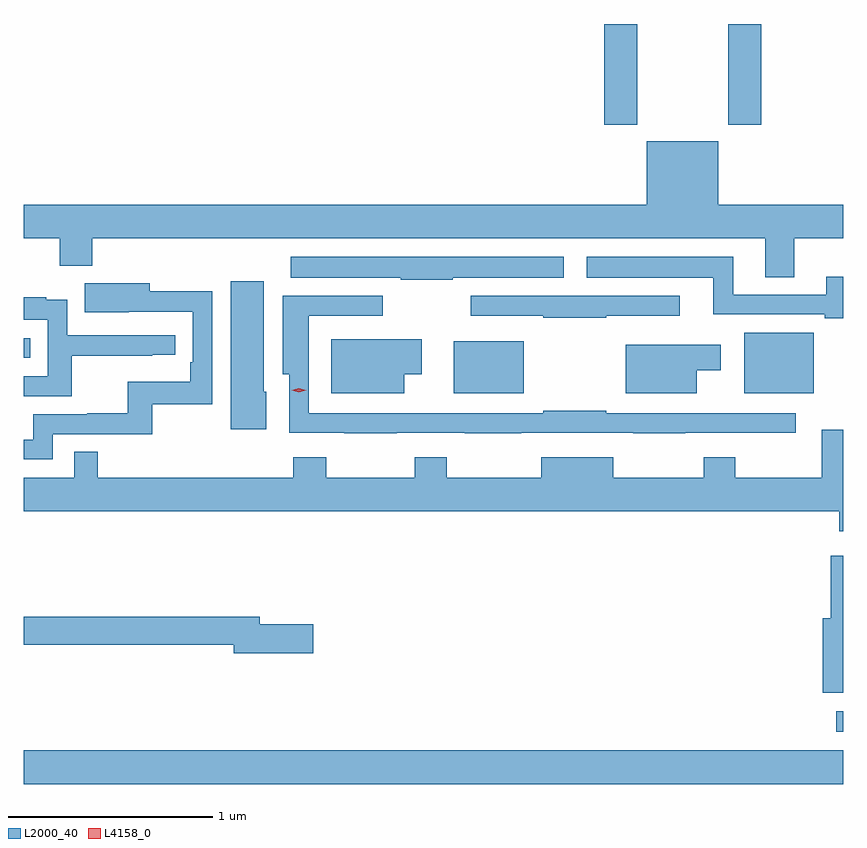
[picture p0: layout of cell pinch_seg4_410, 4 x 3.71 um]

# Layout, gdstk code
import gdstk
lib = gdstk.Library(unit=1e-6, precision=1e-09)
def R(c, l, rs):  # rectangles x0, y0, x1, y1
    for r in rs: c.add(gdstk.rectangle(r[:2], r[2:], *l))
def P(c, l, *ps):  # polygons
    for p in ps: c.add(gdstk.Polygon(p, *l))
L2000_40 = (2000, 40)
L4158_0 = (4158, 0)

pinch_seg4_410 = lib.new_cell('pinch_seg4_410')
R(pinch_seg4_410, L2000_40, [(997.263,774.176,1001.263,774.34), (1001.229,774.431,1001.263,774.532), (999.362,776.084,999.703,776.338), (1000.781,776.084,1001.119,776.38), (997.263,776.256,997.295,776.352), (1000.097,777.393,1000.257,777.886), (1000.702,777.393,1000.862,777.886)])
P(pinch_seg4_410, L2000_40, [(1001.023,776.84),(1001.263,776.84),(1001.263,777.004),(1000.654,777.004),(1000.654,777.313),(1000.304,777.313),(1000.304,777.004),(997.263,777.004),(997.263,776.84),(997.438,776.84),(997.438,776.705),(997.598,776.705),(997.598,776.84),(1000.883,776.84),(1000.883,776.65),(1001.023,776.65)],
  [(1001.263,776.653),(1001.18,776.653),(1001.18,776.565),(1000.726,776.565),(1000.726,776.749),(1000.011,776.749),(1000.011,776.648),(1000.628,776.648),(1000.628,776.469),(1001.174,776.469),(1001.174,776.449),(1001.263,776.449)],
  [(999.356,776.648),(999.898,776.648),(999.898,776.749),(998.565,776.749),(998.565,776.648),(999.103,776.648),(999.103,776.638),(999.356,776.638)],
  [(998.446,776.091),(998.434,776.091),(998.434,776.629),(998.273,776.629),(998.273,775.908),(998.446,775.908)],
  [(997.404,775.884),(997.891,775.884),(997.891,776.031),(998.184,776.031),(998.184,776.582),(997.879,776.582),(997.879,776.62),(997.561,776.62),(997.561,776.48),(997.775,776.48),(997.775,776.481),(998.088,776.481),(998.088,776.236),(998.075,776.236),(998.075,776.14),(997.77,776.14),(997.77,775.985),(997.573,775.985),(997.573,775.98),(997.308,775.98),(997.308,775.857),(997.263,775.857),(997.263,775.761),(997.404,775.761)],
  [(999.083,775.89),(999.415,775.89),(999.415,775.889),(999.692,775.889),(999.692,775.89),(1000.237,775.89),(1000.237,775.889),(1000.493,775.889),(1000.493,775.89),(1001.032,775.89),(1001.032,775.986),(1000.106,775.986),(1000.106,775.999),(999.799,775.999),(999.799,775.986),(998.655,775.986),(998.655,776.463),(999.016,776.463),(999.016,776.559),(998.528,776.559),(998.528,776.177),(998.559,776.177),(998.559,775.89),(998.827,775.89),(998.827,775.889),(999.083,775.889)],
  [(1000.106,776.462),(1000.465,776.462),(1000.465,776.559),(999.444,776.559),(999.444,776.463),(999.799,776.463),(999.799,776.451),(1000.106,776.451)],
  [(997.496,776.266),(997.889,776.266),(997.889,776.271),(998.002,776.271),(998.002,776.367),(997.476,776.367),(997.476,776.539),(997.373,776.539),(997.373,776.551),(997.263,776.551),(997.263,776.442),(997.38,776.442),(997.38,776.166),(997.263,776.166),(997.263,776.07),(997.496,776.07)],
  [(999.121,776.177),(999.205,776.177),(999.205,776.347),(998.765,776.347),(998.765,776.084),(999.121,776.084)],
  [(1000.549,776.195),(1000.666,776.195),(1000.666,776.32),(1000.202,776.32),(1000.202,776.084),(1000.549,776.084)],
  [(1001.263,775.906),(1001.159,775.906),(1001.159,775.672),(1000.737,775.672),(1000.737,775.771),(1000.582,775.771),(1000.582,775.672),(1000.141,775.672),(1000.141,775.771),(999.788,775.771),(999.788,775.672),(999.327,775.672),(999.327,775.771),(999.172,775.771),(999.172,775.672),(998.739,775.672),(998.739,775.771),(998.579,775.771),(998.579,775.672),(997.625,775.672),(997.625,775.799),(997.509,775.799),(997.509,775.672),(997.263,775.672),(997.263,775.508),(1001.243,775.508),(1001.243,775.409),(1001.263,775.409)],
  [(1001.263,775.29),(1001.203,775.29),(1001.203,774.985),(1001.162,774.985),(1001.162,774.621),(1001.263,774.621)],
  [(998.677,774.956),(998.416,774.956),(998.416,774.992),(997.263,774.992),(997.263,774.856),(998.288,774.856),(998.288,774.814),(998.677,774.814)])
P(pinch_seg4_410, L4158_0, [(998.606,776.088),(998.57,776.098),(998.57,776.098),(998.57,776.098),(998.606,776.108),(998.642,776.099),(998.642,776.099),(998.642,776.099)])

lib.write_gds('pinch_seg4_410.gds')
